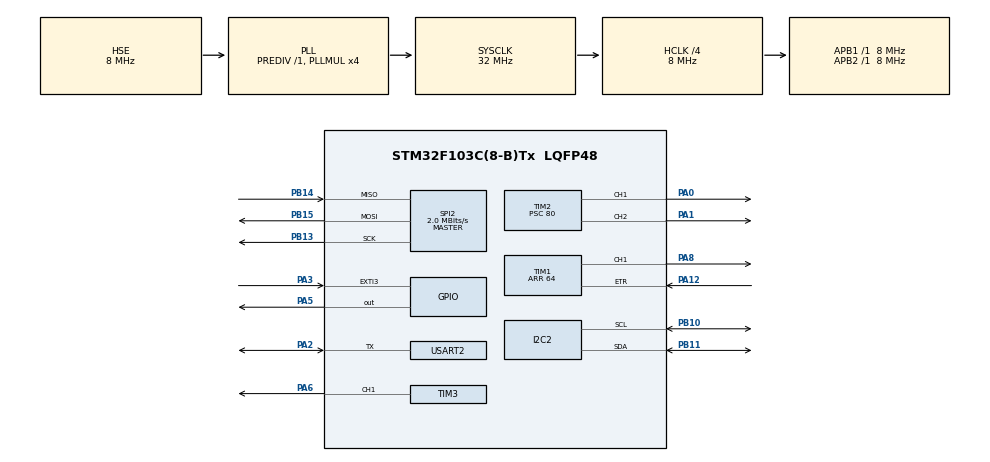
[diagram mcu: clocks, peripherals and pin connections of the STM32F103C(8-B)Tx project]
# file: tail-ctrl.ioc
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Dma.Request0=SPI2_RX
Dma.SPI2_RX.0.Direction=DMA_PERIPH_TO_MEMORY
Dma.SPI2_RX.0.Instance=DMA1_Channel4
Dma.SPI2_RX.0.MemDataAlignment=DMA_MDATAALIGN_BYTE
Dma.SPI2_RX.0.MemInc=DMA_MINC_ENABLE
Dma.SPI2_RX.0.Mode=DMA_CIRCULAR
Dma.SPI2_RX.0.PeriphDataAlignment=DMA_PDATAALIGN_BYTE
Dma.SPI2_RX.0.PeriphInc=DMA_PINC_DISABLE
Dma.SPI2_RX.0.Priority=DMA_PRIORITY_LOW
Mcu.Family=STM32F1
Mcu.Name=STM32F103C(8-B)Tx
Mcu.Package=LQFP48
NVIC.DMA1_Channel4_IRQn=true\:0\:0\:false\:false\:true\:false
NVIC.EXTI3_IRQn=true\:0\:0\:false\:false\:true\:true
NVIC.I2C2_EV_IRQn=true\:0\:0\:false\:false\:true\:true
NVIC.PriorityGroup=NVIC_PRIORITYGROUP_4
NVIC.SPI2_IRQn=true\:0\:0\:false\:false\:true\:true
NVIC.TIM2_IRQn=true\:0\:0\:false\:false\:true\:true
NVIC.TIM4_IRQn=true\:0\:0\:false\:false\:true\:true
PA0-WKUP.Signal=S_TIM2_CH1_ETR
PA1.Signal=S_TIM2_CH2
PA12.Signal=S_TIM1_ETR
PA2.Mode=Half_duplex(single_wire_mode)
PA2.Signal=USART2_TX
PA3.GPIO_ModeDefaultEXTI=GPIO_MODE_IT_RISING
PA3.GPIO_PuPd=GPIO_PULLDOWN
PA3.Signal=GPXTI3
PA5.Signal=GPIO_Output
PA6.Signal=S_TIM3_CH1
PA8.Signal=S_TIM1_CH1
PB10.Mode=I2C
PB10.Signal=I2C2_SCL
PB11.Mode=I2C
PB11.Signal=I2C2_SDA
PB13.Mode=Full_Duplex_Master
PB13.Signal=SPI2_SCK
PB14.Mode=Full_Duplex_Master
PB14.Signal=SPI2_MISO
PB15.Mode=Full_Duplex_Master
PB15.Signal=SPI2_MOSI
PC14-OSC32_IN.Mode=LSE-External-Oscillator
PC14-OSC32_IN.Signal=RCC_OSC32_IN
PC15-OSC32_OUT.Mode=LSE-External-Oscillator
PC15-OSC32_OUT.Signal=RCC_OSC32_OUT
PD0-OSC_IN.Mode=HSE-External-Oscillator
PD0-OSC_IN.Signal=RCC_OSC_IN
PD1-OSC_OUT.Mode=HSE-External-Oscillator
PD1-OSC_OUT.Signal=RCC_OSC_OUT
ProjectManager.HeapSize=0x200
ProjectManager.StackSize=0x400
ProjectManager.TargetToolchain=SW4STM32
RCC.AHBCLKDivider=RCC_SYSCLK_DIV4
RCC.AHBFreq_Value=8000000
RCC.APB1Freq_Value=8000000
RCC.APB1TimFreq_Value=8000000
RCC.APB2Freq_Value=8000000
RCC.APB2TimFreq_Value=8000000
RCC.HCLKFreq_Value=8000000
RCC.PLLMUL=RCC_PLL_MUL4
RCC.PLLSourceVirtual=RCC_PLLSOURCE_HSE
RCC.SYSCLKFreq_VALUE=32000000
RCC.SYSCLKSource=RCC_SYSCLKSOURCE_PLLCLK
RCC.USBFreq_Value=32000000
SH.S_TIM1_CH1.0=TIM1_CH1,Output Compare1 CH1
SH.S_TIM1_ETR.0=TIM1_ETR,ClockSourceETR_Mode2
SH.S_TIM2_CH1_ETR.0=TIM2_CH1,Output Compare1 CH1
SH.S_TIM2_CH2.0=TIM2_CH2,Output Compare2 CH2
SH.S_TIM3_CH1.0=TIM3_CH1,Output Compare1 CH1
SPI2.BaudRatePrescaler=SPI_BAUDRATEPRESCALER_4
SPI2.CalculateBaudRate=2.0 MBits/s
SPI2.Direction=SPI_DIRECTION_2LINES
SPI2.Mode=SPI_MODE_MASTER
SPI2.VirtualType=VM_MASTER
TIM1.Channel-Output\ Compare1\ CH1=TIM_CHANNEL_1
TIM1.OCMode_1=TIM_OCMODE_ACTIVE
TIM1.Period=64
TIM1.Pulse-Output\ Compare1\ CH1=32
TIM2.Channel-Output\ Compare1\ CH1=TIM_CHANNEL_1
TIM2.Channel-Output\ Compare2\ CH2=TIM_CHANNEL_2
TIM2.OCMode_1=TIM_OCMODE_ACTIVE
TIM2.Period=2000
TIM2.Prescaler=80
TIM2.Pulse-Output\ Compare1\ CH1=150
TIM2.Pulse-Output\ Compare2\ CH2=150
TIM3.AutoReloadPreload=TIM_AUTORELOAD_PRELOAD_ENABLE
TIM3.Channel-Output\ Compare1\ CH1=TIM_CHANNEL_1
TIM3.OCMode_1=TIM_OCMODE_ACTIVE
TIM3.Period=1
TIM3.Prescaler=13
TIM3.Pulse-Output\ Compare1\ CH1=1
TIM3.TIM_MasterOutputTrigger=TIM_TRGO_OC1REF
TIM3.TIM_MasterSlaveMode=TIM_MASTERSLAVEMODE_DISABLE
TIM4.Period=65535
USART2.VirtualMode=VM_ASYNC
VP_SYS_VS_ND.Mode=No_Debug
VP_TIM2_VS_ClockSourceINT.Mode=Internal
VP_TIM3_VS_ClockSourceINT.Mode=Internal
VP_TIM4_VS_ClockSourceITR.Mode=TriggerSource_ITR2
VP_TIM4_VS_ControllerModeClock.Mode=Clock Mode
board=custom

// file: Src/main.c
/**
  ******************************************************************************
  * @file           : main.c
  * @brief          : Main program body
  ******************************************************************************
  ** This notice applies to any and all portions of this file
  * that are not between comment pairs USER CODE BEGIN and
  * USER CODE END. Other portions of this file, whether
  * inserted by the user or by software development tools
  * are owned by their respective copyright owners.
  *
  * COPYRIGHT(c) 2020 STMicroelectronics
  *
  * Redistribution and use in source and binary forms, with or without modification,
  * are permitted provided that the following conditions are met:
  *   1. Redistributions of source code must retain the above copyright notice,
  *      this list of conditions and the following disclaimer.
  *   2. Redistributions in binary form must reproduce the above copyright notice,
  *      this list of conditions and the following disclaimer in the documentation
  *      and/or other materials provided with the distribution.
  *   3. Neither the name of STMicroelectronics nor the names of its contributors
  *      may be used to endorse or promote products derived from this software
  *      without specific prior written permission.
  *
  * THIS SOFTWARE IS PROVIDED BY THE COPYRIGHT HOLDERS AND CONTRIBUTORS "AS IS"
  * AND ANY EXPRESS OR IMPLIED WARRANTIES, INCLUDING, BUT NOT LIMITED TO, THE
  * IMPLIED WARRANTIES OF MERCHANTABILITY AND FITNESS FOR A PARTICULAR PURPOSE ARE
  * DISCLAIMED. IN NO EVENT SHALL THE COPYRIGHT HOLDER OR CONTRIBUTORS BE LIABLE
  * FOR ANY DIRECT, INDIRECT, INCIDENTAL, SPECIAL, EXEMPLARY, OR CONSEQUENTIAL
  * DAMAGES (INCLUDING, BUT NOT LIMITED TO, PROCUREMENT OF SUBSTITUTE GOODS OR
  * SERVICES; LOSS OF USE, DATA, OR PROFITS; OR BUSINESS INTERRUPTION) HOWEVER
  * CAUSED AND ON ANY THEORY OF LIABILITY, WHETHER IN CONTRACT, STRICT LIABILITY,
  * OR TORT (INCLUDING NEGLIGENCE OR OTHERWISE) ARISING IN ANY WAY OUT OF THE USE
  * OF THIS SOFTWARE, EVEN IF ADVISED OF THE POSSIBILITY OF SUCH DAMAGE.
  *
  ******************************************************************************
  */
#include "main.h"
#include "stm32f1xx_hal.h"
#include "dma.h"
#include "i2c.h"
#include "spi.h"
#include "tim.h"
#include "usart.h"
#include "gpio.h"

/* USER CODE BEGIN Includes */
#include "consts.h"
/* USER CODE END Includes */

/* USER CODE BEGIN PV */
/* Private variables ---------------------------------------------------------*/

//// AS1130 ////
as1130_state_t AS1130_setup_state = ONOFF;
const uint8_t AS1130_ONOFF_SEL[AS1130_ONOFF_SEL_SIZE] = { AS1130_REG_SEL_ADDR, AS1130_ONOFF_FR0_REG };
const uint8_t AS1130_ONOFF_DATA[AS1130_ONOFF_DATA_SIZE] = { // enable all LEDs
	0xFF, 0x07, // select PWM frame 0
	// turn on all
	0xFF, 0x07, 0xFF, 0x07, 0xFF, 0x07, 0xFF, 0x07, 0xFF, 0x07, 0xFF, 0x07, 0xFF, 0x07
};
const uint8_t AS1130_PWM_SEL[AS1130_PWM_SEL_SIZE] = { AS1130_REG_SEL_ADDR, AS1130_PWM_SET0_REG };

// SPH0615
#define MIC_BUFFER_SIZE 1024
uint8_t mic_buffer[MIC_BUFFER_SIZE] = {0};

/* USER CODE END PV */

void SystemClock_Config(void);

/* USER CODE BEGIN PFP */
/* Private function prototypes -----------------------------------------------*/

/* USER CODE END PFP */

/* USER CODE BEGIN 0 */
// note differing units: stepper is in integer 8-steps (256-scaled)
// servos are in 1/256 fractions of total range, 256-scaled
// for 51:1 stepper gearmotor, this is 0.28deg/256
// for 180deg servo, this is 0.7deg/256

// velocity units are also different
// stepper velocity is the ground truth: it's exponential in this velocity figure
// from 0 to 7, goes from 128 to 1
// servo velocity needs to compensate for the changes in stepper velocity because
// it's updated on the stepper SPI interrupt
// the increment per tick should be normalized by the stepper velocity
// these are for the interrupt's convenience
uint32_t target_256[3] = {0}, target_v_256[3] = {0};
volatile uint32_t cur_256[3] = {0}, cur_v_256[3] = {0};

uint8_t px[PX_SIZE];
volatile uint8_t px_idx = PX_SIZE;
extern I2C_HandleTypeDef hi2c2;
/* USER CODE END 0 */

int main(void)
{

  /* MCU Configuration----------------------------------------------------------*/

  /* Reset of all peripherals, Initializes the Flash interface and the Systick. */
  HAL_Init();

  /* Configure the system clock */
  SystemClock_Config();

  /* Initialize all configured peripherals */
  MX_GPIO_Init();
  MX_DMA_Init();
  MX_TIM3_Init();
  MX_USART2_UART_Init();
  MX_I2C2_Init();
  MX_SPI2_Init();
  MX_TIM1_Init();
  MX_TIM4_Init();
  MX_TIM2_Init();
  /* USER CODE BEGIN 2 */
  AS1130_Init();
  SPH0645_Init();
  /* USER CODE END 2 */

  /* Infinite loop */
  while (1)
  {

  }

}

void SystemClock_Config(void)
{

  RCC_OscInitTypeDef RCC_OscInitStruct;
  RCC_ClkInitTypeDef RCC_ClkInitStruct;

    /**Initializes the CPU, AHB and APB busses clocks
    */
  RCC_OscInitStruct.OscillatorType = RCC_OSCILLATORTYPE_HSE;
  RCC_OscInitStruct.HSEState = RCC_HSE_ON;
  RCC_OscInitStruct.HSEPredivValue = RCC_HSE_PREDIV_DIV1;
  RCC_OscInitStruct.HSIState = RCC_HSI_ON;
  RCC_OscInitStruct.PLL.PLLState = RCC_PLL_ON;
  RCC_OscInitStruct.PLL.PLLSource = RCC_PLLSOURCE_HSE;
  RCC_OscInitStruct.PLL.PLLMUL = RCC_PLL_MUL4;
  if (HAL_RCC_OscConfig(&RCC_OscInitStruct) != HAL_OK)
  {
    _Error_Handler(__FILE__, __LINE__);
  }

    /**Initializes the CPU, AHB and APB busses clocks
    */
  RCC_ClkInitStruct.ClockType = RCC_CLOCKTYPE_HCLK|RCC_CLOCKTYPE_SYSCLK
                              |RCC_CLOCKTYPE_PCLK1|RCC_CLOCKTYPE_PCLK2;
  RCC_ClkInitStruct.SYSCLKSource = RCC_SYSCLKSOURCE_PLLCLK;
  RCC_ClkInitStruct.AHBCLKDivider = RCC_SYSCLK_DIV4;
  RCC_ClkInitStruct.APB1CLKDivider = RCC_HCLK_DIV1;
  RCC_ClkInitStruct.APB2CLKDivider = RCC_HCLK_DIV1;

  if (HAL_RCC_ClockConfig(&RCC_ClkInitStruct, FLASH_LATENCY_1) != HAL_OK)
  {
    _Error_Handler(__FILE__, __LINE__);
  }

    /**Configure the Systick interrupt time
    */
  HAL_SYSTICK_Config(HAL_RCC_GetHCLKFreq()/1000);

    /**Configure the Systick
    */
  HAL_SYSTICK_CLKSourceConfig(SYSTICK_CLKSOURCE_HCLK);

  /* SysTick_IRQn interrupt configuration */
  HAL_NVIC_SetPriority(SysTick_IRQn, 0, 0);
}

/* USER CODE BEGIN 4 */
void AS1130_Init(void) {
	HAL_Delay(10); // give AS1130 >5ms to setup I2C address (as spec'd)
	while(AS1130_setup_state != READY || hi2c2->State != HAL_I2C_STATE_READY) {
		if(hi2c2->State == HAL_I2C_STATE_READY) {
			switch(AS1130_setup_state) {
			case ONOFF_SEL:
				HAL_I2C_Master_Transmit_IT(hi2c2, AS1130_ADDR, AS1130_ONOFF_SEL, AS1130_ONOFF_SEL_SIZE);
				AS1130_setup_state = ONOFF;
				break;
			case ONOFF:
				HAL_I2C_Master_Transmit_IT(hi2c2, AS1130_ADDR, AS1130_ONOFF_DATA, AS1130_ONOFF_DATA_SIZE);
				AS1130_setup_state = PWM_SEL;
				break;
			case PWM_SEL:
				HAL_I2C_Master_Transmit_IT(hi2c2, AS1130_ADDR, AS1130_PWM_SEL, AS1130_PWM_SEL_SIZE);
				AS1130_setup_state = READY;
				break;
			default:
				// for now, race condition between while and if check
				break;
			}
		}
	}
}
void SPH0645_Init(void) {
	// wow i really hope this is all i need to do
	HAL_SPI_Receive_DMA(hspi2, mic_buffer, MIC_BUFFER_SIZE);
}
/* USER CODE END 4 */

void _Error_Handler(char *file, int line)
{
  while(1)
  {
  }
}

/************************ (C) COPYRIGHT STMicroelectronics *****END OF FILE****/
